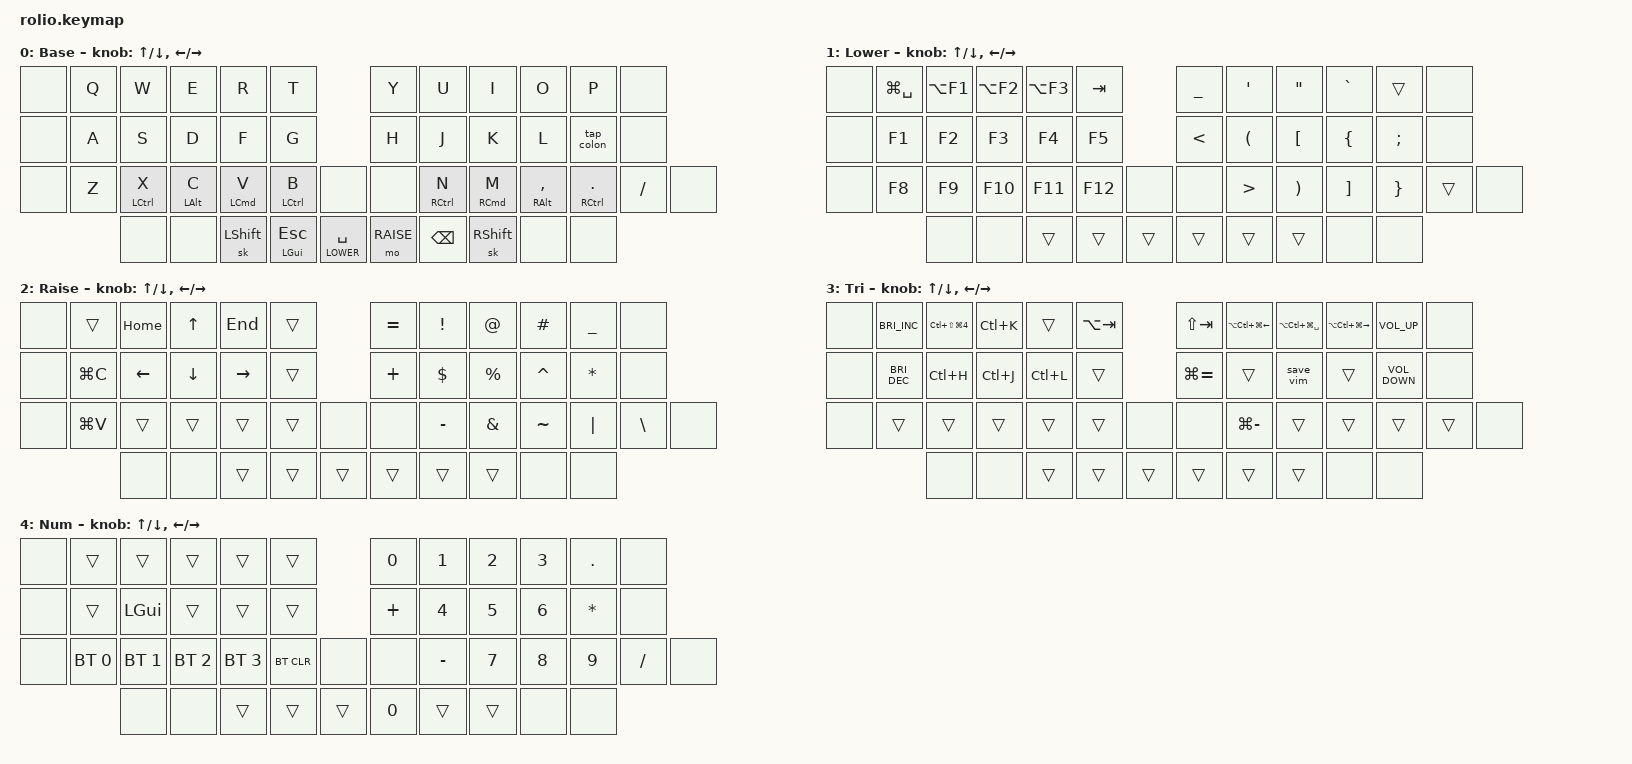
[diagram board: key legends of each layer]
/*
 * Scorpio / Rolio46 keymap
 * Ported from YNOT 5-column Corne
 * Outer pinky columns and extra thumb keys set to &none
 *
 * SPDX-License-Identifier: MIT
 */

#include <behaviors.dtsi>
#include <dt-bindings/zmk/keys.h>
#include <dt-bindings/zmk/bt.h>

#define BASE 0
#define LOWER 1
#define RAISE 2
#define TRI 3
#define NUM 4

#define HM_TAPPING_TERM 300
#define HM_TAPPING_TERM_FAST 200
#define HM_PRIOR_IDLE 100

// Key position groups for positional homerow mods
// Row 0: 0-5 left, 6-11 right
// Row 1: 12-17 left, 18-23 right
// Row 2: 24-29 left, 30(enc), 31(enc), 32-37 right
// Row 3: 38-42 left thumbs, 43-47 right thumbs

#define KEYS_L 0 1 2 3 4 5 12 13 14 15 16 17 24 25 26 27 28 29
#define KEYS_R 6 7 8 9 10 11 18 19 20 21 22 23 32 33 34 35 36 37
#define THUMBS 38 39 40 41 42 43 44 45 46 47

/ {
    behaviors {
        hml: homerow_mods_left {
            compatible = "zmk,behavior-hold-tap";
            #binding-cells = <2>;
            bindings = <&kp>, <&kp>;
            flavor = "balanced";
            tapping-term-ms = <HM_TAPPING_TERM>;
            quick-tap-ms = <175>;
            require-prior-idle-ms = <HM_PRIOR_IDLE>;
            hold-trigger-key-positions = <KEYS_R THUMBS>;
            hold-trigger-on-release;
        };

        hmr: homerow_mods_right {
            compatible = "zmk,behavior-hold-tap";
            #binding-cells = <2>;
            bindings = <&kp>, <&kp>;
            flavor = "balanced";
            tapping-term-ms = <HM_TAPPING_TERM>;
            quick-tap-ms = <175>;
            require-prior-idle-ms = <HM_PRIOR_IDLE>;
            hold-trigger-key-positions = <KEYS_L THUMBS>;
            hold-trigger-on-release;
        };

        hm: homerow_mods {
            compatible = "zmk,behavior-hold-tap";
            #binding-cells = <2>;
            bindings = <&kp>, <&kp>;
            flavor = "balanced";
            tapping-term-ms = <HM_TAPPING_TERM>;
            quick-tap-ms = <200>;
        };
    };
};

/ {
    macros {
        save_vim: save_vim {
            compatible = "zmk,behavior-macro";
            #binding-cells = <0>;
            bindings = <&kp ESCAPE &kp ESCAPE &kp SPACE &kp SPACE>;
            label = "SAVE_VIM";
        };

        tap_colon: super_colon {
            compatible = "zmk,behavior-macro";
            #binding-cells = <0>;
            bindings = <&kp COLON>;
            label = "SUPER_COLON";
        };
    };

    combos {
        compatible = "zmk,combos";
        timeout-ms = <30>;

        numlayer {
            bindings = <&sl NUM>;
            key-positions = <13 14>;
        };

        homerow_hyperspace {
            bindings = <&kp LS(LA(LC(LG(SPACE))))>;
            key-positions = <41 44>;
        };

        return {
            bindings = <&kp RETURN>;
            key-positions = <21 22>;
        };

        hyper {
            bindings = <&sk LA(LC(LG(LEFT_SHIFT)))>;
            key-positions = <38 47>;
        };

        control_b {
            bindings = <&kp LC(B)>;
            key-positions = <17 18>;
        };

        caps_word_combo {
            bindings = <&caps_word>;
            key-positions = <28 27>;
        };
    };

    keymap {
        compatible = "zmk,keymap";

        default_layer {
            display-name = "Base";
            sensor-bindings = <&inc_dec_kp UP DOWN &inc_dec_kp LEFT RIGHT>;
            bindings = <
// |-NONE-|  Q   |  W   |  E   |  R   |  T   |                     |  Y   |  U   |  I   |  O   |  P   |-NONE-|
// |-NONE-|  A   |  S   |  D   |  F   |  G   |                     |  H   |  J   |  K   |  L   |  :   |-NONE-|
// |-NONE-|  Z   |X/CTL |C/ALT |V/CMD |B/CTL |-ENC-|         |-ENC-|N/CTL |M/CMD |,/ALT |./CTL |  /   |-NONE-|
//               |-NONE-|-NONE-| SHFT | ESC  |LOWER|         |RAISE| BSPC | SHFT |-NONE-|-NONE-|
   &none  &kp Q  &kp W                &kp E            &kp R                 &kp T                              &kp Y                 &kp U                 &kp I                 &kp O                   &kp P       &none
   &none  &kp A  &kp S                &kp D            &kp F                 &kp G                              &kp H                 &kp J                 &kp K                 &kp L                   &tap_colon  &none
   &none  &kp Z  &hml LEFT_CONTROL X  &hml LEFT_ALT C  &hml LEFT_COMMAND V   &hml LEFT_CONTROL B    &none                    &none     &hmr RIGHT_CONTROL N  &hmr RIGHT_COMMAND M  &hmr RIGHT_ALT COMMA  &hmr RIGHT_CONTROL DOT  &kp SLASH   &none
                 &none                &none            &sk LEFT_SHIFT        &hmr LEFT_GUI ESCAPE  &lt LOWER SPACE          &mo RAISE  &kp BACKSPACE         &sk RIGHT_SHIFT       &none                 &none
            >;
        };

        lower_layer {
            display-name = "Lower";
            sensor-bindings = <&inc_dec_kp UP DOWN &inc_dec_kp LEFT RIGHT>;
            bindings = <
   &none  &kp LG(SPACE)  &kp LA(F1)  &kp LA(F2)  &kp LA(F3)  &kp TAB                            &kp UNDER          &kp SINGLE_QUOTE       &kp DOUBLE_QUOTES   &kp GRAVE       &trans  &none
   &none  &kp F1         &kp F2      &kp F3      &kp F4      &kp F5                             &kp LESS_THAN      &kp LEFT_PARENTHESIS   &kp LEFT_BRACKET   &kp LEFT_BRACE   &kp SEMICOLON  &none
   &none  &kp F8         &kp F9      &kp F10     &kp F11     &kp F12         &none       &none   &kp GREATER_THAN   &kp RIGHT_PARENTHESIS  &kp RIGHT_BRACKET  &kp RIGHT_BRACE  &trans  &none
                         &none       &none       &trans      &trans          &trans      &trans  &trans             &trans                 &none              &none
            >;
        };

        raise_layer {
            display-name = "Raise";
            sensor-bindings = <&inc_dec_kp UP DOWN &inc_dec_kp LEFT RIGHT>;
            bindings = <
   &none  &trans      &kp HOME  &kp UP                 &kp END    &trans                          &kp EQUAL  &kp EXCL       &kp AT       &kp HASH   &kp UNDER      &none
   &none  &kp LG(C)   &kp LEFT  &kp DOWN               &kp RIGHT  &trans                          &kp PLUS   &kp DOLLAR     &kp PERCENT  &kp CARET  &kp STAR       &none
   &none  &kp LG(V)   &trans    &trans                 &trans     &trans          &none    &none   &kp MINUS  &kp AMPERSAND  &kp TILDE    &kp PIPE   &kp BACKSLASH  &none
                      &none     &none                  &trans     &trans          &trans   &trans  &trans     &trans         &none        &none
            >;
        };

        tri_layer {
            display-name = "Tri";
            sensor-bindings = <&inc_dec_kp UP DOWN &inc_dec_kp LEFT RIGHT>;
            bindings = <
   &none  &kp C_BRIGHTNESS_INC  &kp LC(LS(LG(N4)))  &kp LC(K)     &trans            &kp LA(TAB)                        &kp LS(TAB)    &kp LA(LC(LG(LEFT)))  &kp LA(LC(LG(SPACE)))  &kp LA(LC(LG(RIGHT)))  &kp C_VOLUME_UP    &none
   &none  &kp C_BRIGHTNESS_DEC  &kp LC(H)           &kp LC(J)     &kp LC(L)         &trans                             &kp LG(EQUAL)  &trans                &save_vim              &trans                 &kp C_VOLUME_DOWN  &none
   &none  &trans                &trans              &trans        &trans            &trans          &none       &none    &kp LG(MINUS)  &trans                &trans                 &trans                 &trans             &none
                                &none               &none         &trans            &trans          &trans      &trans   &trans         &trans                &none                  &none
            >;
        };

        num_layer {
            display-name = "Num";
            sensor-bindings = <&inc_dec_kp UP DOWN &inc_dec_kp LEFT RIGHT>;
            bindings = <
   &none  &trans        &trans        &trans        &trans        &trans                            &kp N0     &kp N1  &kp N2  &kp N3  &kp PERIOD  &none
   &none  &trans        &kp LEFT_GUI  &trans        &trans        &trans                            &kp PLUS   &kp N4  &kp N5  &kp N6  &kp STAR    &none
   &none  &bt BT_SEL 0  &bt BT_SEL 1  &bt BT_SEL 2  &bt BT_SEL 3  &bt BT_CLR      &none    &none   &kp MINUS  &kp N7  &kp N8  &kp N9  &kp SLASH   &none
                        &none         &none         &trans        &trans            &trans   &kp N0  &trans     &trans  &none   &none
            >;
        };
    };

    conditional_layers {
        compatible = "zmk,conditional-layers";

        tri-layer {
            if-layers = <LOWER RAISE>;
            then-layer = <TRI>;
        };
    };
};
